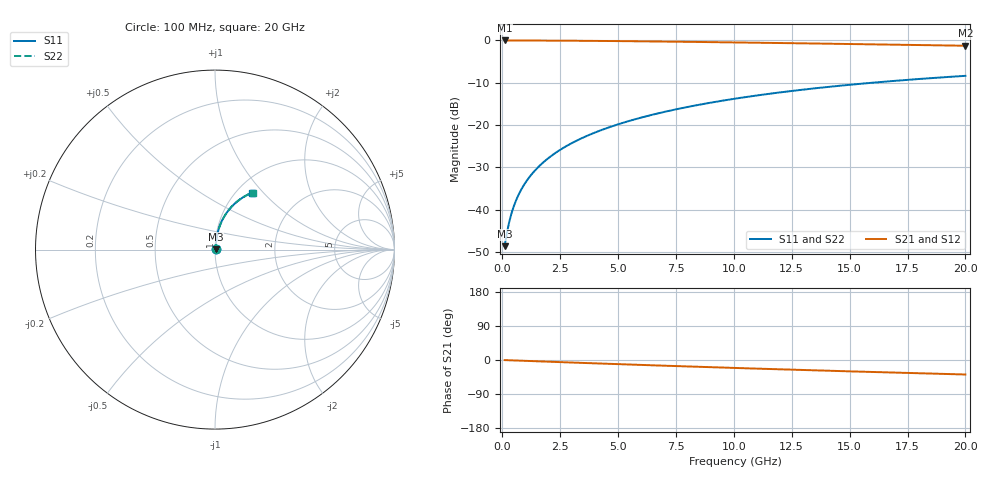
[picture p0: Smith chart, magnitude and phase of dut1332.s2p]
! Touchstone file exported from HFSS 2024.1.0
!  File:  C:/UserFiles/LocalFiles/RDL_TSV_Batchsim/temp_RDL_bottom_1332_1780369437.aedt
!  Generated:  11:06:22 AM Jun  2, 2026
!  Design:  RDL_bottom
!  Project:  temp_RDL_bottom_1332_1780369437
!  Setup:  Setup1
!  Solution:  Sweep
! Variables:
!  dtsv = 10.80580581um
!  hbump = 3um
!  htsv = 62.55um
!  ldown = 540.55um
!  lrdl = 100um
!  p = 40
!  p1 = 43.7um
!  rhole = 1um
!  t = 450um
!  tdown = 4.11um
!  trdl = 3.915915916um
!  wdown = 16.26um
!  wrdl = 20um
# GHz S MA R 50.000000
! Terminal data exported
! Port[1] = RDL1_T1
! Port[2] = RDL1_T2
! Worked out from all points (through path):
!   200 points, 100 MHz to 20 GHz, reference 50 ohm
!   highest |S21| = -0.03 dB at 100 MHz (marker M1); lowest = -1.3 dB at 20 GHz (marker M2)
!   group delay of S21, straight-line fit = 5.29 ps
!   lowest |S11| = -48.7 dB at 100 MHz (marker M3), VSWR 1.01, Z = 50.3 + j0.218 ohm
!   |S11| at or under -10 dB: start of sweep to 16.02 GHz
!   |S22| runs from -48.7 to -8.4 dB; largest |S21 - S12| = 2.2e-15
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0.1  0.003691 36.0  0.997 -0.2  0.997 -0.2  0.003691 36.0
! Gamma 0 0 0 0
! Port Impedance 50 0 50 0
0.2  0.005296 54.3  0.9969 -0.5  0.9969 -0.5  0.005296 54.3
0.3  0.007151 63.2  0.9968 -0.7  0.9968 -0.7  0.007151 63.2
0.4  0.009069 68.3  0.9966 -0.9  0.9966 -0.9  0.009069 68.3
0.5  0.011 71.5  0.9965 -1.1  0.9965 -1.1  0.01101 71.5
0.6  0.01295 73.8  0.9963 -1.4  0.9963 -1.4  0.01295 73.8
0.8  0.01686 76.8  0.996 -1.8  0.996 -1.8  0.01686 76.8
1.1  0.02278 79.4  0.9956 -2.5  0.9956 -2.5  0.02278 79.4
1.3  0.02675 80.4  0.9952 -2.9  0.9952 -2.9  0.02675 80.4
1.6  0.03273 81.4  0.9945 -3.6  0.9945 -3.6  0.03273 81.4
2.1  0.04277 82.1  0.9932 -4.7  0.9932 -4.7  0.04277 82.1
2.7  0.05488 82.4  0.9912 -6.0  0.9912 -6.0  0.05488 82.4
3.5  0.07111 82.1  0.9879 -7.8  0.9879 -7.8  0.0711 82.1
4.2  0.08537 81.5  0.9845 -9.3  0.9845 -9.3  0.08536 81.5
5  0.1017 80.7  0.9802 -11.0  0.9802 -11.0  0.1017 80.7
5.9  0.1202 79.6  0.9747 -12.8  0.9747 -12.8  0.1201 79.6
6.8  0.1386 78.4  0.9689 -14.7  0.9689 -14.7  0.1386 78.3
8.4  0.1712 76.0  0.9576 -17.8  0.9576 -17.8  0.1712 76.0
10.1  0.2054 73.2  0.9449 -21.1  0.9449 -21.1  0.2054 73.2
13.4  0.2692 67.7  0.9186 -27.1  0.9186 -27.1  0.269 67.6
16.7  0.3279 62.1  0.8912 -32.8  0.8912 -32.8  0.3277 62.1
20  0.3805 56.7  0.8635 -38.2  0.8635 -38.2  0.3803 56.7
